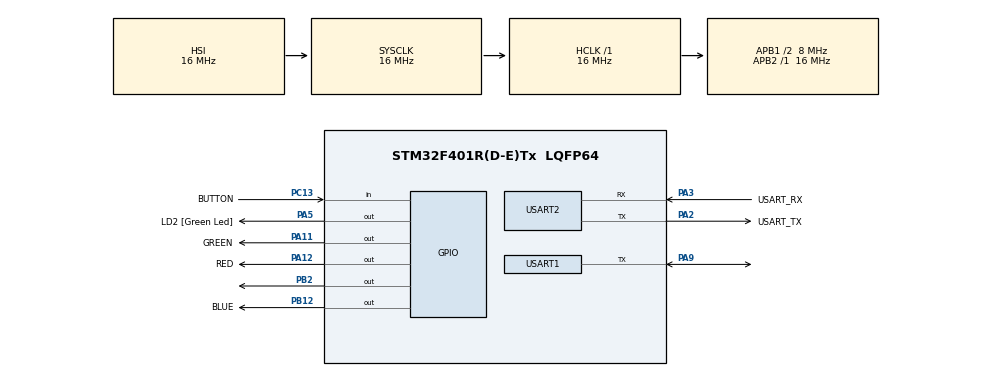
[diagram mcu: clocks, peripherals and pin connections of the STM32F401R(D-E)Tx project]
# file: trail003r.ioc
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Mcu.Family=STM32F4
Mcu.Name=STM32F401R(D-E)Tx
Mcu.Package=LQFP64
NVIC.PriorityGroup=NVIC_PRIORITYGROUP_0
NVIC.USART1_IRQn=true\:0\:0\:false\:false\:true\:true\:true\:true
PA11.GPIO_Label=GREEN
PA11.PinState=GPIO_PIN_SET
PA11.Signal=GPIO_Output
PA12.GPIO_Label=RED
PA12.PinState=GPIO_PIN_SET
PA12.Signal=GPIO_Output
PA13.GPIO_Label=TMS
PA13.Mode=Serial_Wire
PA13.Signal=SYS_JTMS-SWDIO
PA14.GPIO_Label=TCK
PA14.Mode=Serial_Wire
PA14.Signal=SYS_JTCK-SWCLK
PA2.GPIO_Label=USART_TX
PA2.GPIO_Mode=GPIO_MODE_AF_PP
PA2.GPIO_PuPd=GPIO_NOPULL
PA2.GPIO_Speed=GPIO_SPEED_FREQ_LOW
PA2.Mode=Asynchronous
PA2.Signal=USART2_TX
PA3.GPIO_Label=USART_RX
PA3.GPIO_Mode=GPIO_MODE_AF_PP
PA3.GPIO_PuPd=GPIO_NOPULL
PA3.GPIO_Speed=GPIO_SPEED_FREQ_LOW
PA3.Mode=Asynchronous
PA3.Signal=USART2_RX
PA5.GPIO_Label=LD2 [Green Led]
PA5.GPIO_Mode=GPIO_MODE_OUTPUT_PP
PA5.GPIO_PuPd=GPIO_NOPULL
PA5.GPIO_Speed=GPIO_SPEED_FREQ_LOW
PA5.Signal=GPIO_Output
PA9.GPIO_PuPd=GPIO_PULLUP
PA9.Mode=Half_duplex(single_wire_mode)
PA9.Signal=USART1_TX
PB12.GPIO_Label=BLUE
PB12.PinState=GPIO_PIN_SET
PB12.Signal=GPIO_Output
PB2.PinState=GPIO_PIN_SET
PB2.Signal=GPIO_Output
PB3.GPIO_Label=SWO
PB3.Signal=SYS_JTDO-SWO
PC13-ANTI_TAMP.GPIO_Label=BUTTON
PC13-ANTI_TAMP.GPIO_PuPd=GPIO_PULLDOWN
PC13-ANTI_TAMP.Signal=GPIO_Input
PC14-OSC32_IN.Signal=RCC_OSC32_IN
PC15-OSC32_OUT.Signal=RCC_OSC32_OUT
PH0\ -\ OSC_IN.Mode=HSE-External-Clock-Source
PH0\ -\ OSC_IN.Signal=RCC_OSC_IN
PH1\ -\ OSC_OUT.Mode=HSE-External-Clock-Source
PH1\ -\ OSC_OUT.Signal=RCC_OSC_OUT
ProjectManager.HeapSize=0x200
ProjectManager.StackSize=0x400
ProjectManager.TargetToolchain=STM32CubeIDE
RCC.48MHZClocksFreq_Value=96000000
RCC.AHBFreq_Value=16000000
RCC.APB1CLKDivider=RCC_HCLK_DIV2
RCC.APB1Freq_Value=8000000
RCC.APB1TimFreq_Value=16000000
RCC.APB2Freq_Value=16000000
RCC.APB2TimFreq_Value=16000000
RCC.CortexFreq_Value=16000000
RCC.HCLKFreq_Value=16000000
RCC.HSE_VALUE=8000000
RCC.HSI_VALUE=16000000
RCC.PLLM=4
RCC.PLLN=336
RCC.PLLP=RCC_PLLP_DIV4
RCC.PLLQ=7
RCC.PLLSourceVirtual=RCC_PLLSOURCE_HSE
RCC.SYSCLKFreq_VALUE=16000000
RCC.VCOOutputFreq_Value=672000000
USART1.VirtualMode=VM_ASYNC
USART2.VirtualMode=VM_ASYNC
board=NUCLEO-F401RE

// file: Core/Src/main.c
/* USER CODE BEGIN Header */
/**
  ******************************************************************************
  * @file           : main.c
  * @brief          : Main program body
  ******************************************************************************
  * @attention
  *
  * Copyright (c) 2024 STMicroelectronics.
  * All rights reserved.
  *
  * This software is licensed under terms that can be found in the LICENSE file
  * in the root directory of this software component.
  * If no LICENSE file comes with this software, it is provided AS-IS.
  *
  ******************************************************************************
  */
/* USER CODE END Header */
#include "main.h"

/* USER CODE BEGIN Includes */

#include "stdio.h"

/* USER CODE END Includes */

UART_HandleTypeDef huart1;
UART_HandleTypeDef huart2;

void SystemClock_Config(void);
static void MX_GPIO_Init(void);
static void MX_USART2_UART_Init(void);
static void MX_USART1_UART_Init(void);

/* USER CODE BEGIN 0 */

uint8_t RxData[30];
int indx = 0;
uint8_t TxData[25];
int isClicked = 0;
int isDataReceived = 0;
int on_led = 0;
int blue_button = 0;

void HAL_UARTEx_RxEventCallback(UART_HandleTypeDef* huart, uint16_t Size) {
	isDataReceived = 1;
	HAL_UARTEx_ReceiveToIdle_IT(&huart1, RxData, 30);
}

//void HAL_GPIO_EXTI_Callback(uint16_t GPIO_Pin) {
//	if (GPIO_Pin == GPIO_PIN_13) {
//		if (isClicked == 0) {
//			isClicked = 1;
//		}
//	}
//}

/* USER CODE END 0 */

int main(void)
{

  /* MCU Configuration--------------------------------------------------------*/

  /* Reset of all peripherals, Initializes the Flash interface and the Systick. */
  HAL_Init();

  /* Configure the system clock */
  SystemClock_Config();

  /* Initialize all configured peripherals */
  MX_GPIO_Init();
  MX_USART2_UART_Init();
  MX_USART1_UART_Init();
  /* USER CODE BEGIN 2 */

  HAL_HalfDuplex_EnableReceiver(&huart1);
  HAL_UARTEx_ReceiveToIdle_IT(&huart1, RxData, 30);

  /* USER CODE END 2 */

  /* Infinite loop */
  while (1)
  {

    /* USER CODE BEGIN 3 */

//	  if (isClicked == 1) {
//
//		  HAL_Delay(200);
//
//		  indx++;
//
//		  int len = sprintf((char*) TxData, "LED_ON", indx);
//		  HAL_HalfDuplex_EnableTransmitter(&huart1);
//		  HAL_UART_Transmit(&huart1, TxData, len, 1000);
//		  HAL_HalfDuplex_EnableReceiver(&huart1);
//		  isClicked = 0;
//	  }

	  if (isDataReceived == 1) {

		  // int blue_button = 0;
		  //GPIO_PinState buttonState = HAL_GPIO_ReadPin(BUTTON_GPIO_Port, BUTTON_Pin);

		  isDataReceived = 0;

		  if (strcmp((char*)RxData, "LED_ONN") == 0) {
			  HAL_GPIO_WritePin(GPIOA, RED_Pin | GREEN_Pin, GPIO_PIN_RESET);
			  HAL_GPIO_WritePin(GPIOB, BLUE_Pin, GPIO_PIN_RESET);

			  on_led = 1;

			  blue_button += 1;

//			  if (buttonState == GPIO_PIN_SET) {
//				  blue_button += 1;
//
//				  if (blue_button == 1) {
//					  HAL_GPIO_WritePin(GPIOA, RED_Pin, GPIO_PIN_RESET);
//					  HAL_GPIO_WritePin(GPIOA, GREEN_Pin, GPIO_PIN_SET);
//					  HAL_GPIO_WritePin(GPIOB, BLUE_Pin, GPIO_PIN_SET);
//				  }
//				  else if (blue_button == 2) {
//					  HAL_GPIO_WritePin(GPIOA, RED_Pin, GPIO_PIN_SET);
//					  HAL_GPIO_WritePin(GPIOA, GREEN_Pin, GPIO_PIN_RESET);
//					  HAL_GPIO_WritePin(GPIOB, BLUE_Pin, GPIO_PIN_SET);
//				  }
//				  else if (blue_button == 3) {
//					  HAL_GPIO_WritePin(GPIOA, RED_Pin, GPIO_PIN_SET);
//					  HAL_GPIO_WritePin(GPIOA, GREEN_Pin, GPIO_PIN_SET);
//					  HAL_GPIO_WritePin(GPIOB, BLUE_Pin, GPIO_PIN_RESET);
//					  blue_button = 0;
//				  }
//			  }

		  }
		  else if (strcmp((char*)RxData, "LED_OFF") == 0) {
			  HAL_GPIO_WritePin(GPIOA, RED_Pin | GREEN_Pin, GPIO_PIN_SET);
			  HAL_GPIO_WritePin(GPIOB, BLUE_Pin, GPIO_PIN_SET);
			  //blue_button = 0;
			  on_led = 0;
		  }

		  if (on_led) {

			  if (blue_button == 1) {
				  HAL_GPIO_WritePin(GPIOA, RED_Pin, GPIO_PIN_RESET);
				  HAL_GPIO_WritePin(GPIOA, GREEN_Pin, GPIO_PIN_RESET);
				  HAL_GPIO_WritePin(GPIOB, BLUE_Pin, GPIO_PIN_RESET);
			  }

			  else if (blue_button == 2) {
				  HAL_GPIO_WritePin(GPIOA, RED_Pin, GPIO_PIN_RESET);
				  HAL_GPIO_WritePin(GPIOA, GREEN_Pin, GPIO_PIN_SET);
				  HAL_GPIO_WritePin(GPIOB, BLUE_Pin, GPIO_PIN_SET);
			  }

			  else if (blue_button == 3) {
				  HAL_GPIO_WritePin(GPIOA, RED_Pin, GPIO_PIN_SET);
				  HAL_GPIO_WritePin(GPIOA, GREEN_Pin, GPIO_PIN_RESET);
				  HAL_GPIO_WritePin(GPIOB, BLUE_Pin, GPIO_PIN_SET);
			  }

			  else if (blue_button == 4) {
				  HAL_GPIO_WritePin(GPIOA, RED_Pin, GPIO_PIN_SET);
				  HAL_GPIO_WritePin(GPIOA, GREEN_Pin, GPIO_PIN_RESET);
				  HAL_GPIO_WritePin(GPIOB, BLUE_Pin, GPIO_PIN_RESET);
				  blue_button = 0;
			  }

			  // GPIO_PinState buttonState = HAL_GPIO_ReadPin(BUTTON_GPIO_Port, BUTTON_Pin);

//			  if (buttonState == GPIO_PIN_SET) {
//				  HAL_Delay(50);
//
//				  if (HAL_GPIO_ReadPin(BUTTON_GPIO_Port, BUTTON_Pin) == GPIO_PIN_SET) {
//					  blue_button += 1;
//
//
//					  if (blue_button == 1) {
//						  /* First press: Turn on GREEN LED */
//						  HAL_GPIO_WritePin(GPIOA, RED_Pin, GPIO_PIN_RESET);
//						  HAL_GPIO_WritePin(GPIOA, GREEN_Pin, GPIO_PIN_SET);
//						  HAL_GPIO_WritePin(GPIOB, BLUE_Pin, GPIO_PIN_SET);
//					  }
//
//					  else if (blue_button == 2) {
//						  /* Second press: Turn on RED LED */
//						  HAL_GPIO_WritePin(GPIOA, RED_Pin, GPIO_PIN_SET);
//						  HAL_GPIO_WritePin(GPIOA, GREEN_Pin, GPIO_PIN_RESET);
//						  HAL_GPIO_WritePin(GPIOB, BLUE_Pin, GPIO_PIN_SET);
//					  }
//
//					  else if (blue_button == 3) {
//						  /* Third press: Turn on BLUE LED */
//						  HAL_GPIO_WritePin(GPIOA, RED_Pin, GPIO_PIN_SET);
//						  HAL_GPIO_WritePin(GPIOA, GREEN_Pin, GPIO_PIN_SET);
//						  HAL_GPIO_WritePin(GPIOB, BLUE_Pin, GPIO_PIN_RESET);
//						  blue_button = 0; // Reset counter
//					  }
//
//
//					  while (HAL_GPIO_ReadPin(BUTTON_GPIO_Port, BUTTON_Pin) == GPIO_PIN_SET) {
//						  HAL_Delay(10);
//					  }
//				  }
//			  }
		  }

	  }

  }
  /* USER CODE END 3 */
}

void SystemClock_Config(void)
{
  RCC_OscInitTypeDef RCC_OscInitStruct = {0};
  RCC_ClkInitTypeDef RCC_ClkInitStruct = {0};

  /** Configure the main internal regulator output voltage
  */
  __HAL_RCC_PWR_CLK_ENABLE();
  __HAL_PWR_VOLTAGESCALING_CONFIG(PWR_REGULATOR_VOLTAGE_SCALE2);

  /** Initializes the RCC Oscillators according to the specified parameters
  * in the RCC_OscInitTypeDef structure.
  */
  RCC_OscInitStruct.OscillatorType = RCC_OSCILLATORTYPE_HSI;
  RCC_OscInitStruct.HSIState = RCC_HSI_ON;
  RCC_OscInitStruct.HSICalibrationValue = RCC_HSICALIBRATION_DEFAULT;
  RCC_OscInitStruct.PLL.PLLState = RCC_PLL_NONE;
  if (HAL_RCC_OscConfig(&RCC_OscInitStruct) != HAL_OK)
  {
    Error_Handler();
  }

  /** Initializes the CPU, AHB and APB buses clocks
  */
  RCC_ClkInitStruct.ClockType = RCC_CLOCKTYPE_HCLK|RCC_CLOCKTYPE_SYSCLK
                              |RCC_CLOCKTYPE_PCLK1|RCC_CLOCKTYPE_PCLK2;
  RCC_ClkInitStruct.SYSCLKSource = RCC_SYSCLKSOURCE_HSI;
  RCC_ClkInitStruct.AHBCLKDivider = RCC_SYSCLK_DIV1;
  RCC_ClkInitStruct.APB1CLKDivider = RCC_HCLK_DIV2;
  RCC_ClkInitStruct.APB2CLKDivider = RCC_HCLK_DIV1;

  if (HAL_RCC_ClockConfig(&RCC_ClkInitStruct, FLASH_LATENCY_0) != HAL_OK)
  {
    Error_Handler();
  }
}

static void MX_USART1_UART_Init(void)
{

  huart1.Instance = USART1;
  huart1.Init.BaudRate = 115200;
  huart1.Init.WordLength = UART_WORDLENGTH_8B;
  huart1.Init.StopBits = UART_STOPBITS_1;
  huart1.Init.Parity = UART_PARITY_NONE;
  huart1.Init.Mode = UART_MODE_TX_RX;
  huart1.Init.HwFlowCtl = UART_HWCONTROL_NONE;
  huart1.Init.OverSampling = UART_OVERSAMPLING_16;
  if (HAL_HalfDuplex_Init(&huart1) != HAL_OK)
  {
    Error_Handler();
  }

}

static void MX_USART2_UART_Init(void)
{

  huart2.Instance = USART2;
  huart2.Init.BaudRate = 115200;
  huart2.Init.WordLength = UART_WORDLENGTH_8B;
  huart2.Init.StopBits = UART_STOPBITS_1;
  huart2.Init.Parity = UART_PARITY_NONE;
  huart2.Init.Mode = UART_MODE_TX_RX;
  huart2.Init.HwFlowCtl = UART_HWCONTROL_NONE;
  huart2.Init.OverSampling = UART_OVERSAMPLING_16;
  if (HAL_UART_Init(&huart2) != HAL_OK)
  {
    Error_Handler();
  }

}

static void MX_GPIO_Init(void)
{
  GPIO_InitTypeDef GPIO_InitStruct = {0};

  /* GPIO Ports Clock Enable */
  __HAL_RCC_GPIOC_CLK_ENABLE();
  __HAL_RCC_GPIOH_CLK_ENABLE();
  __HAL_RCC_GPIOA_CLK_ENABLE();
  __HAL_RCC_GPIOB_CLK_ENABLE();

  /*Configure GPIO pin Output Level */
  HAL_GPIO_WritePin(LD2_GPIO_Port, LD2_Pin, GPIO_PIN_RESET);

  /*Configure GPIO pin Output Level */
  HAL_GPIO_WritePin(GPIOB, GPIO_PIN_2|BLUE_Pin, GPIO_PIN_SET);

  /*Configure GPIO pin Output Level */
  HAL_GPIO_WritePin(GPIOA, GREEN_Pin|RED_Pin, GPIO_PIN_SET);

  /*Configure GPIO pin : BUTTON_Pin */
  GPIO_InitStruct.Pin = BUTTON_Pin;
  GPIO_InitStruct.Mode = GPIO_MODE_INPUT;
  GPIO_InitStruct.Pull = GPIO_PULLDOWN;
  HAL_GPIO_Init(BUTTON_GPIO_Port, &GPIO_InitStruct);

  /*Configure GPIO pins : LD2_Pin GREEN_Pin RED_Pin */
  GPIO_InitStruct.Pin = LD2_Pin|GREEN_Pin|RED_Pin;
  GPIO_InitStruct.Mode = GPIO_MODE_OUTPUT_PP;
  GPIO_InitStruct.Pull = GPIO_NOPULL;
  GPIO_InitStruct.Speed = GPIO_SPEED_FREQ_LOW;
  HAL_GPIO_Init(GPIOA, &GPIO_InitStruct);

  /*Configure GPIO pins : PB2 BLUE_Pin */
  GPIO_InitStruct.Pin = GPIO_PIN_2|BLUE_Pin;
  GPIO_InitStruct.Mode = GPIO_MODE_OUTPUT_PP;
  GPIO_InitStruct.Pull = GPIO_NOPULL;
  GPIO_InitStruct.Speed = GPIO_SPEED_FREQ_LOW;
  HAL_GPIO_Init(GPIOB, &GPIO_InitStruct);

}

void Error_Handler(void)
{
  __disable_irq();
  while (1)
  {
  }
}
